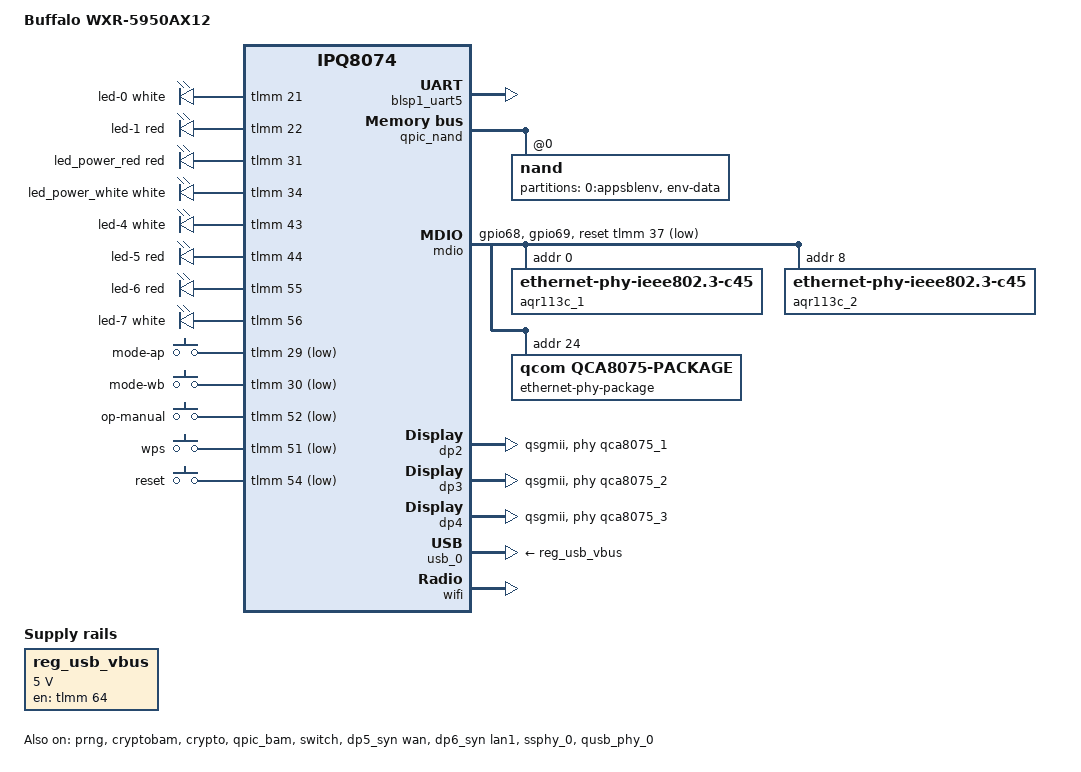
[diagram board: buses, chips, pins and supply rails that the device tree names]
// SPDX-License-Identifier: GPL-2.0-or-later OR MIT

/dts-v1/;

#include "ipq8074.dtsi"
#include "ipq8074-hk-cpu.dtsi"
#include "ipq8074-ess.dtsi"
#include "ipq8074-nss.dtsi"
#include <dt-bindings/gpio/gpio.h>
#include <dt-bindings/leds/common.h>
#include <dt-bindings/input/input.h>

/ {
	model = "Buffalo WXR-5950AX12";
	compatible = "buffalo,wxr-5950ax12", "qcom,ipq8074";

	aliases {
		serial0 = &blsp1_uart5;
		led-boot = &led_power_white;
		led-failsafe = &led_power_red;
		led-running = &led_power_white;
		led-upgrade = &led_power_white;
		label-mac-device = &dp5_syn;
	};

	chosen {
		stdout-path = "serial0:115200n8";
		bootargs-append = " ubi.mtd=user_property root=/dev/ubiblock1_0";
	};

	leds {
		compatible = "gpio-leds";

		led-0 {
			gpios = <&tlmm 21 GPIO_ACTIVE_HIGH>;
			color = <LED_COLOR_ID_WHITE>;
			function = "router";
		};

		led-1 {
			gpios = <&tlmm 22 GPIO_ACTIVE_HIGH>;
			color = <LED_COLOR_ID_RED>;
			function = "router";
		};

		led_power_red: led-2 {
			gpios = <&tlmm 31 GPIO_ACTIVE_HIGH>;
			color = <LED_COLOR_ID_RED>;
			function = LED_FUNCTION_POWER;
		};

		led_power_white: led-3 {
			gpios = <&tlmm 34 GPIO_ACTIVE_HIGH>;
			color = <LED_COLOR_ID_WHITE>;
			function = LED_FUNCTION_POWER;
		};

		led-4 {
			gpios = <&tlmm 43 GPIO_ACTIVE_HIGH>;
			color = <LED_COLOR_ID_WHITE>;
			function = "internet";
		};

		led-5 {
			gpios = <&tlmm 44 GPIO_ACTIVE_HIGH>;
			color = <LED_COLOR_ID_RED>;
			function = "internet";
		};

		led-6 {
			gpios = <&tlmm 55 GPIO_ACTIVE_HIGH>;
			color = <LED_COLOR_ID_RED>;
			function = LED_FUNCTION_WLAN;
		};

		led-7 {
			gpios = <&tlmm 56 GPIO_ACTIVE_HIGH>;
			color = <LED_COLOR_ID_WHITE>;
			function = LED_FUNCTION_WLAN;
		};
	};

	keys {
		compatible = "gpio-keys";

		/*
		 * mode: 3x position switch
		 *
		 * - ROUTER
		 * - AP
		 * - WB (Wireless Bridge)
		 */
		ap {
			label = "mode-ap";
			gpios = <&tlmm 29 GPIO_ACTIVE_LOW>;
			linux,code = <BTN_0>;
		};

		bridge {
			label = "mode-wb";
			gpios = <&tlmm 30 GPIO_ACTIVE_LOW>;
			linux,code = <BTN_1>;
		};

		/*
		 * op: 2x position switch
		 *
		 * - AUTO
		 * - MANUAL (select Router/AP/WB manually)
		 */
		manual {
			label = "op-manual";
			gpios = <&tlmm 52 GPIO_ACTIVE_LOW>;
			linux,code = <BTN_2>;
		};

		wps {
			label = "wps";
			gpios = <&tlmm 51 GPIO_ACTIVE_LOW>;
			linux,code = <KEY_WPS_BUTTON>;
		};

		reset {
			label = "reset";
			gpios = <&tlmm 54 GPIO_ACTIVE_LOW>;
			linux,code = <KEY_RESTART>;
		};
	};

	reg_usb_vbus: regulator-5v-vbus {
		compatible = "regulator-fixed";
		regulator-name = "vbus";
		regulator-min-microvolt = <5000000>;
		regulator-max-microvolt = <5000000>;
		gpios = <&tlmm 64 GPIO_ACTIVE_HIGH>;
		enable-active-high;
		regulator-always-on;
	};
};

&tlmm {
	mdio_pins: mdio-pins {
		mdc {
			pins = "gpio68";
			function = "mdc";
			drive-strength = <8>;
			bias-pull-up;
		};

		mdio {
			pins = "gpio69";
			function = "mdio";
			drive-strength = <8>;
			bias-pull-up;
		};
	};
};

&blsp1_uart5 {
	status = "okay";
};

&prng {
	status = "okay";
};

&cryptobam {
	status = "okay";
};

&crypto {
	status = "okay";
};

&qpic_bam {
	status = "okay";
};

&qpic_nand {
	status = "okay";

	nand@0 {
		reg = <0>;
		nand-ecc-strength = <4>;
		nand-ecc-step-size = <512>;
		nand-bus-width = <8>;

		partitions {
			compatible = "qcom,smem-part";

			partition-0-appsblenv {
				compatible = "fixed-partitions";
				label = "0:appsblenv";
				read-only;
				#address-cells = <1>;
				#size-cells = <1>;

				partition@0 {
					label = "env-data";
					reg = <0x0 0x40000>;

					nvmem-layout {
						compatible = "u-boot,env";

						macaddr_appsblenv_ethaddr: ethaddr {
						};
					};
				};
			};
		};
	};
};

&mdio {
	status = "okay";
	pinctrl-0 = <&mdio_pins>;
	pinctrl-names = "default";
	/*
	 * RESET pins of phy chips
	 *
	 * WXR-5950AX12 has 2x RESET pins for QCA8075 and AQR113C.
	 * The pin of QCA8075 is for the chip and not phys in the chip, the
	 * pin of AQR113C is for 2x chips. So both pins are not appropriate
	 * to declare them as reset-gpios in phy nodes.
	 * Multiple entries in reset-gpios of mdio may not be supported, but
	 * leave the following as-is to show that the those reset pin exists.
	 */
	reset-gpios = <&tlmm 37 GPIO_ACTIVE_LOW>, /* QCA8075 RESET */
		      <&tlmm 63 GPIO_ACTIVE_LOW>; /* AQR113C RESET (2x) */

	aqr113c_1: ethernet-phy@0 {
		compatible = "ethernet-phy-ieee802.3-c45";
		reg = <0x0>;
	};

	aqr113c_2: ethernet-phy@8 {
		compatible = "ethernet-phy-ieee802.3-c45";
		reg = <0x8>;
	};

	ethernet-phy-package@17 {
		#address-cells = <1>;
		#size-cells = <0>;
		compatible = "qcom,qca8075-package";
		reg = <0x18>;

		qcom,package-mode = "qsgmii";

		qca8075_1: ethernet-phy@19 {
			compatible = "ethernet-phy-ieee802.3-c22";
			reg = <0x19>;
		};

		qca8075_2: ethernet-phy@1a {
			compatible = "ethernet-phy-ieee802.3-c22";
			reg = <0x1a>;
		};

		qca8075_3: ethernet-phy@1b {
			compatible = "ethernet-phy-ieee802.3-c22";
			reg = <0x1b>;
		};
	};
};

&switch {
	status = "okay";

	switch_lan_bmp = <(ESS_PORT2 | ESS_PORT3 | ESS_PORT4 | ESS_PORT6)>;
	switch_wan_bmp = <ESS_PORT5>;
	switch_mac_mode = <MAC_MODE_QSGMII>;
	switch_mac_mode1 = <MAC_MODE_USXGMII>;
	switch_mac_mode2 = <MAC_MODE_USXGMII>;

	qcom,port_phyinfo {
		port@2 {
			port_id = <2>;
			phy_address = <0x19>;
		};

		port@3 {
			port_id = <3>;
			phy_address = <0x1a>;
		};

		port@4 {
			port_id = <4>;
			phy_address = <0x1b>;
		};

		port@5 {
			port_id = <5>;
			ethernet-phy-ieee802.3-c45;
			phy_address = <0x0>;
		};

		port@6 {
			port_id = <6>;
			ethernet-phy-ieee802.3-c45;
			phy_address = <0x8>;
		};
	};
};

&edma {
	status = "okay";
};

&dp2 {
	status = "okay";
	phy-mode = "qsgmii";
	phy-handle = <&qca8075_1>;
	label = "lan4";
	nvmem-cells = <&macaddr_appsblenv_ethaddr>;
	nvmem-cell-names = "mac-address";
};

&dp3 {
	status = "okay";
	phy-mode = "qsgmii";
	phy-handle = <&qca8075_2>;
	label = "lan3";
	nvmem-cells = <&macaddr_appsblenv_ethaddr>;
	nvmem-cell-names = "mac-address";
};

&dp4 {
	status = "okay";
	phy-mode = "qsgmii";
	phy-handle = <&qca8075_3>;
	label = "lan2";
	nvmem-cells = <&macaddr_appsblenv_ethaddr>;
	nvmem-cell-names = "mac-address";
};

&dp5_syn {
	status = "okay";
	phy-mode = "usxgmii";
	phy-handle = <&aqr113c_1>;
	label = "wan";
	nvmem-cells = <&macaddr_appsblenv_ethaddr>;
	nvmem-cell-names = "mac-address";
};

&dp6_syn {
	status = "okay";
	phy-mode = "usxgmii";
	phy-handle = <&aqr113c_2>;
	label = "lan1";
	nvmem-cells = <&macaddr_appsblenv_ethaddr>;
	nvmem-cell-names = "mac-address";
};

&ssphy_0 {
	status = "okay";
};

&qusb_phy_0 {
	status = "okay";
};

&usb_0 {
	status = "okay";

	vbus-supply = <&reg_usb_vbus>;
};

&wifi {
	status = "okay";

	qcom,ath11k-calibration-variant = "Buffalo-WXR-5950AX12";
};
